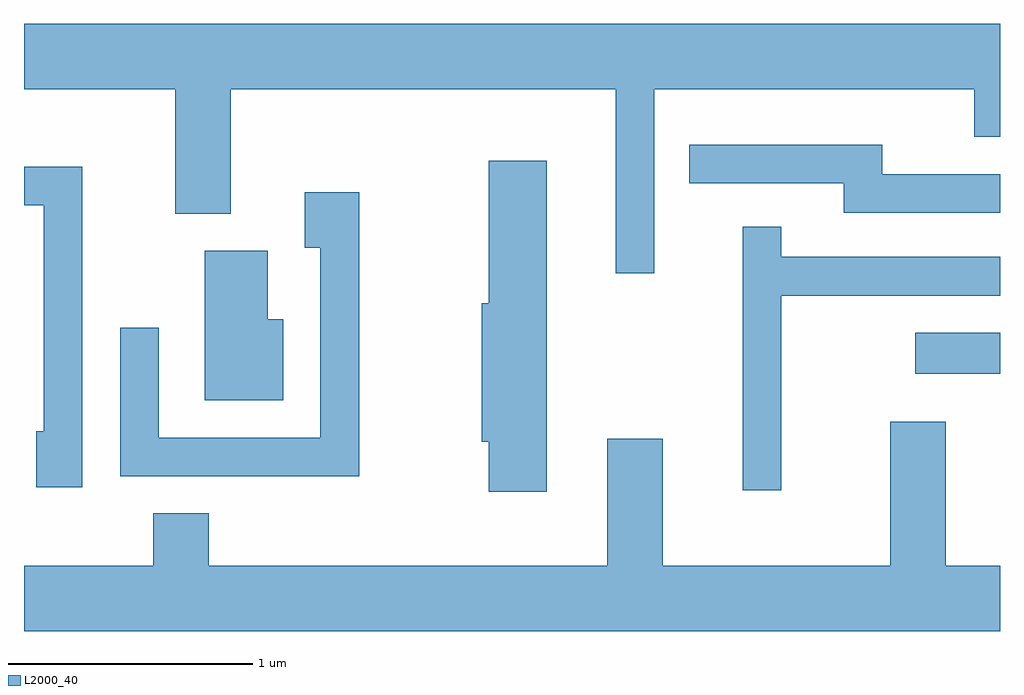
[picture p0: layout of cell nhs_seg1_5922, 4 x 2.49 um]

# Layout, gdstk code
import gdstk
lib = gdstk.Library(unit=1e-6, precision=1e-09)
def R(c, l, rs):  # rectangles x0, y0, x1, y1
    for r in rs: c.add(gdstk.rectangle(r[:2], r[2:], *l))
def P(c, l, *ps):  # polygons
    for p in ps: c.add(gdstk.Polygon(p, *l))
L2000_40 = (2000, 40)

nhs_seg1_5922 = lib.new_cell('nhs_seg1_5922')
R(nhs_seg1_5922, L2000_40, [(367.263,909.511,367.611,909.679)])
P(nhs_seg1_5922, L2000_40, [(366.194,910.676),(367.506,910.676),(367.506,910.481),(367.611,910.481),(367.611,910.944),(363.611,910.944),(363.611,910.676),(364.231,910.676),(364.231,910.166),(364.459,910.166),(364.459,910.676),(366.036,910.676),(366.036,909.923),(366.194,909.923)],
  [(367.611,910.329),(367.129,910.329),(367.129,910.449),(366.338,910.449),(366.338,910.291),(366.971,910.291),(366.971,910.171),(367.611,910.171)],
  [(365.754,910.384),(365.516,910.384),(365.516,909.799),(365.486,909.799),(365.486,909.231),(365.516,909.231),(365.516,909.026),(365.754,909.026)],
  [(363.849,910.359),(363.611,910.359),(363.611,910.201),(363.691,910.201),(363.691,909.274),(363.661,909.274),(363.661,909.046),(363.849,909.046)],
  [(364.984,910.254),(364.761,910.254),(364.761,910.026),(364.826,910.026),(364.826,909.249),(364.164,909.249),(364.164,909.698),(364.006,909.698),(364.006,909.091),(364.984,909.091)],
  [(366.714,909.831),(367.611,909.831),(367.611,909.989),(366.714,909.989),(366.714,910.113),(366.556,910.113),(366.556,909.033),(366.714,909.033)],
  [(364.674,909.734),(364.609,909.734),(364.609,910.014),(364.351,910.014),(364.351,909.401),(364.674,909.401)],
  [(367.611,908.724),(367.389,908.724),(367.389,909.314),(367.161,909.314),(367.161,908.724),(366.229,908.724),(366.229,909.244),(366.001,909.244),(366.001,908.724),(364.369,908.724),(364.369,908.939),(364.141,908.939),(364.141,908.724),(363.611,908.724),(363.611,908.456),(367.611,908.456)])

lib.write_gds('nhs_seg1_5922.gds')
